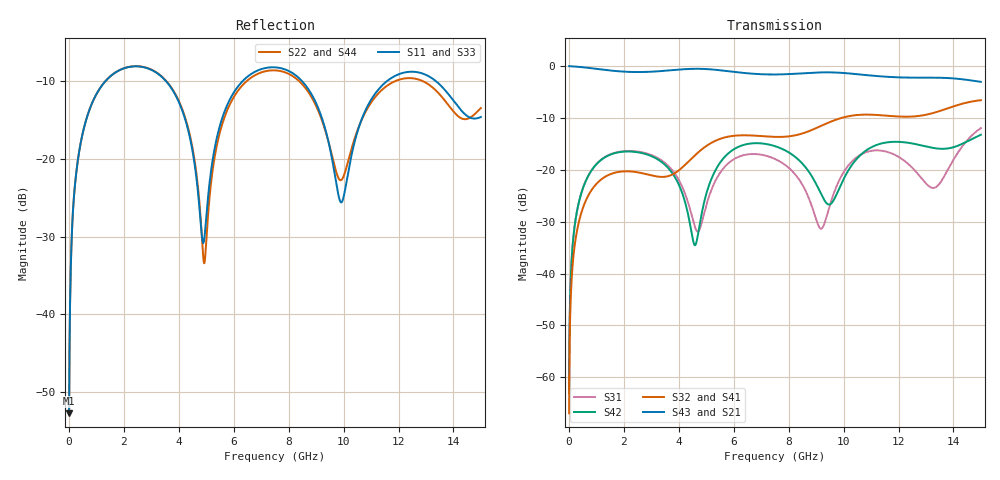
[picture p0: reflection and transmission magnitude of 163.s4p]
! Created with skrf 1.8.0 (http://scikit-rf.org).
# GHz S RI R 50.0
!freq ReS11 ImS11 ReS12 ImS12 ReS13 ImS13
! ReS14 ImS14
! ReS21 ImS21 ReS22 ImS22 ReS23 ImS23
! ReS24 ImS24
! ReS31 ImS31 ReS32 ImS32 ReS33 ImS33
! ReS34 ImS34
! ReS41 ImS41 ReS42 ImS42 ReS43 ImS43
! ReS44 ImS44
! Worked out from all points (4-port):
!   2499 points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, 5 MHz to 15 GHz, reference 50 ohm
!   strongest paths, dB at 5 MHz, 3.476 GHz, 7.19 GHz, 11.1 GHz, 15 GHz:
!     S43: 0.0, -0.9, -1.6, -1.9, -3.0
!     S21: 0.0, -0.9, -1.6, -1.9, -3.0
!     S32: -67.0, -21.4, -13.6, -9.4, -6.6
!     S41: -67.0, -21.4, -13.6, -9.4, -6.6
!     S42: -63.1, -18.9, -15.0, -15.4, -13.2
!     S31: -63.1, -18.6, -17.3, -16.3, -12.0
!   lowest |S11| = -52.8 dB at 5 MHz (marker M1), VSWR 1.00, Z = 50.2 + j0.14 ohm
!   |S11| at or under -10 dB: 3.537 GHz to 6.318 GHz (2.781 GHz wide, 56.4 % of centre); 8.492 GHz to 11.57 GHz (3.082 GHz wide, 30.7 % of centre); 13.37 GHz to end of sweep (the widest 3 of 4)
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0.005  0.00183 0.00139  0.9981 -0.00355  9.13e-05 0.000693  -8.88e-05 -0.00044
       0.9981 -0.00355  0.00183 0.00139  -8.88e-05 -0.00044  9.12e-05 0.000693
       9.13e-05 0.000693  -8.88e-05 -0.00044  0.00183 0.00139  0.9981 -0.00355
       -8.88e-05 -0.00044  9.12e-05 0.000693  0.9981 -0.00355  0.00183 0.00139
0.3626511  0.0363 0.103  0.9499 -0.2529  0.0169 0.046  -0.014 -0.0284
           0.9499 -0.2529  0.0363 0.103  -0.014 -0.0284  0.0167 0.0461
           0.0169 0.046  -0.014 -0.0284  0.0363 0.103  0.9499 -0.2529
           -0.014 -0.0284  0.0167 0.0461  0.9499 -0.2529  0.0363 0.103
1.725719  0.3354 0.1396  0.3871 -0.8067  0.1439 0.0314  -0.0923 0.0198
          0.3871 -0.8067  0.3363 0.1389  -0.0924 0.02  0.1413 0.037
          0.1439 0.0314  -0.0924 0.02  0.3353 0.1397  0.3872 -0.8067
          -0.0923 0.0198  0.1413 0.037  0.3872 -0.8067  0.3364 0.1388
4.927053  0.0291 0.00934  -0.9368 -0.05  -0.0182 0.0339  -0.00497 0.1641
          -0.9368 -0.05  0.0213 9.87e-05  -0.00284 0.1642  0.0322 0.0374
          -0.0182 0.0339  -0.00284 0.1642  0.0303 0.00924  -0.9368 -0.0502
          -0.00497 0.1641  0.0322 0.0374  -0.9368 -0.0502  0.0202 4.38e-05
7.378074  0.3892 0.00329  -0.1023 0.8233  0.1244 -0.0417  0.2052 -0.0303
          -0.1023 0.8233  0.371 0.024  0.2055 -0.0342  0.1378 -0.1042
          0.1244 -0.0417  0.2055 -0.0342  0.3877 0.00243  -0.1027 0.8237
          0.2052 -0.0303  0.1378 -0.1042  -0.1027 0.8237  0.3704 0.0247
10.16674  0.0648 0.05  0.8494 -0.0523  0.0368 0.1031  -0.0315 -0.3263
          0.8494 -0.0523  0.084 0.048  -0.0393 -0.3255  0.0379 0.0903
          0.0368 0.1031  -0.0393 -0.3255  0.0655 0.0509  0.8494 -0.0524
          -0.0315 -0.3263  0.0379 0.0903  0.8494 -0.0524  0.0834 0.0511
15  0.1851 -0.0195  -0.7024 -0.0618  0.0446 0.2484  -0.0341 0.4645
    -0.7024 -0.0618  0.2092 0.0382  -0.0208 0.4682  -0.0445 0.2133
    0.0446 0.2484  -0.0208 0.4682  0.1759 -0.0204  -0.7022 -0.0618
    -0.0341 0.4645  -0.0445 0.2133  -0.7022 -0.0618  0.2163 0.047
